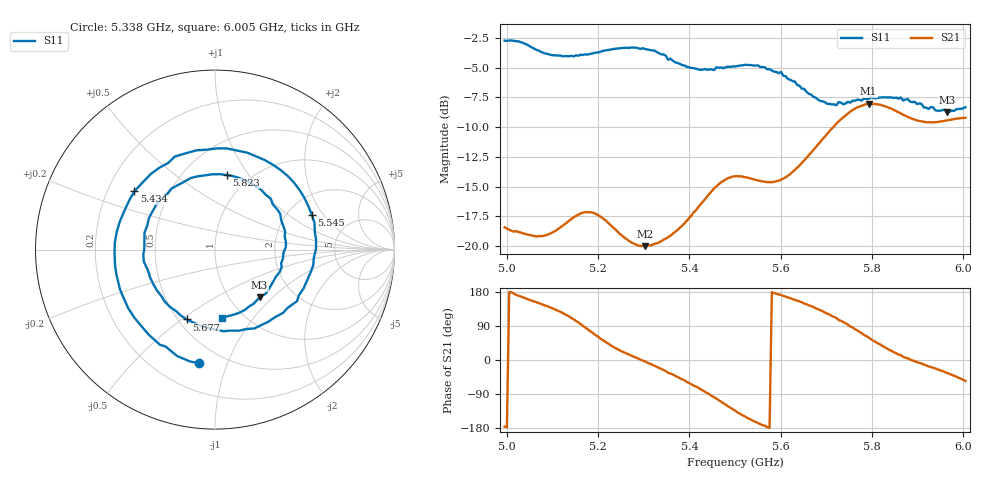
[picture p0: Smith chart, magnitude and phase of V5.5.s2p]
!File created by NanoVNA
# Hz S RI R 50
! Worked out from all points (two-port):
!   201 points, 4.995 GHz to 6.005 GHz, reference 50 ohm
!   highest |S21| = -8.05 dB at 5.793 GHz (marker M1); lowest = -20.0 dB at 5.303 GHz (marker M2)
!   |S21| within 3 dB of the highest: 5.691 GHz to end of sweep
!   lowest |S11| = -8.8 dB at 5.965 GHz (marker M3), VSWR 2.15, Z = 68.2 - j41.9 ohm
!   |S11| at or under -10 dB: nowhere
!   S12 and S22 are empty: the file has one direction only
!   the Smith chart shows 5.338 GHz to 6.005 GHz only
!   S11 on the Smith chart (normalised r, x): 5.338 GHz: 0.37, -0.80; 5.434 GHz: 0.31, +0.29; 5.545 GHz: 2.68, +1.56; 5.677 GHz: 0.55, -0.52; 5.823 GHz: 0.78, +0.79; 6.005 GHz: 0.80, -0.71
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4.995e9  0.2328 -0.6914  -0.1195 -0.00904  0 0  0 0
5.03035e9  -0.2693 -0.667  -0.1112 0.0248  0 0  0 0
5.08085e9  -0.6453 -0.0536  -0.0906 0.0631  0 0  0 0
5.1263e9  -0.3788 0.5002  -0.0636 0.1058  0 0  0 0
5.1667e9  0.1074 0.6255  -0.000799 0.1382  0 0  0 0
5.2374e9  0.6686 0.0855  0.0999 0.0621  0 0  0 0
5.30305e9  0.3586 -0.5689  0.0996 -0.00693  0 0  0 0
5.33335e9  -0.0161 -0.6466  0.0968 -0.0367  0 0  0 0
5.3384e9  -0.0872 -0.6331  0.0962 -0.0419  0 0  0 0
5.39395e9  -0.5491 -0.14  0.0682 -0.1076  0 0  0 0
5.43435e9  -0.4489 0.3249  0.0167 -0.1565  0 0  0 0
5.5e9  0.2253 0.5211  -0.1349 -0.1428  0 0  0 0
5.54545e9  0.5388 0.1954  -0.1819 -0.0535  0 0  0 0
5.61615e9  0.3311 -0.3788  -0.1907 0.0513  0 0  0 0
5.6717e9  -0.1171 -0.4077  -0.1937 0.1626  0 0  0 0
5.67675e9  -0.1587 -0.3889  -0.1884 0.1788  0 0  0 0
5.7323e9  -0.3995 -0.0275  -0.08 0.3316  0 0  0 0
5.7929e9  -0.1681 0.38  0.1994 0.342  0 0  0 0
5.8232e9  0.0641 0.4162  0.3108 0.2349  0 0  0 0
5.83835e9  0.1642 0.3881  0.3396 0.1705  0 0  0 0
5.9646e9  0.2486 -0.2665  0.2784 -0.1903  0 0  0 0
6.005e9  0.0368 -0.3811  0.1968 -0.2844  0 0  0 0
